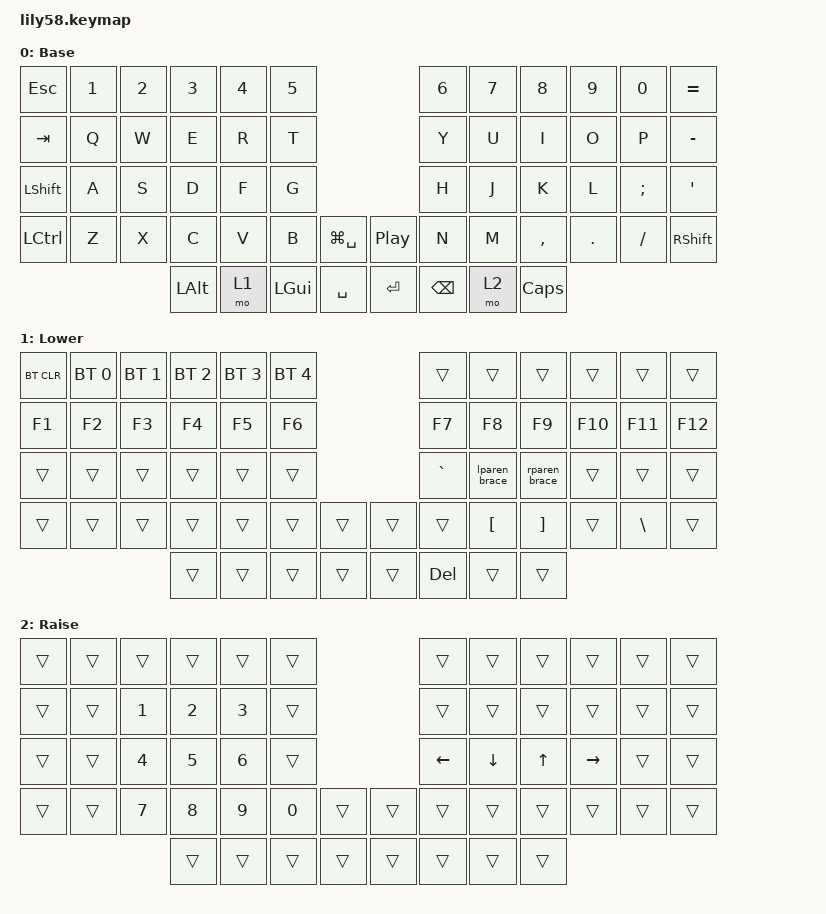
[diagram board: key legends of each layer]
/*
 * Copyright (c) 2020 The ZMK Contributors
 *
 * SPDX-License-Identifier: MIT
 */

#include <behaviors.dtsi>
#include <dt-bindings/zmk/bt.h>
#include <dt-bindings/zmk/keys.h>

/ {
    combos {
        compatible = "zmk,combos";

        LBrace {
            bindings = <&kp LEFT_BRACE>;
            key-positions = <24 51 31>;
        };

        RBrace {
            bindings = <&kp RBRC>;
            key-positions = <24 51 32>;
        };
    };

    behaviors {
        lparen_brace: lparen_brace {
            compatible = "zmk,behavior-mod-morph";
            label = "LPAREN_BRACE";
            bindings = <&kp LEFT_PARENTHESIS>, <&kp LBRC>;

            #binding-cells = <0>;
            mods = <(MOD_LSFT|MOD_RSFT)>;
        };

        rparen_brace: rparen_brace {
            compatible = "zmk,behavior-mod-morph";
            label = "RPAREN_BRACE";
            bindings = <&kp RPAR>, <&kp RIGHT_BRACE>;

            #binding-cells = <0>;
            mods = <(MOD_LSFT|MOD_RSFT)>;
        };
    };

    keymap {
        compatible = "zmk,keymap";

        default_layer {
            // ------------------------------------------------------------------------------------------------------------
            // |  ESC  |  1  |  2  |  3   |  4   |  5   |                   |  6   |  7    |  8    |  9   |   0   |   `   |
            // |  TAB  |  Q  |  W  |  E   |  R   |  T   |                   |  Y   |  U    |  I    |  O   |   P   |   -   |
            // |  CTRL |  A  |  S  |  D   |  F   |  G   |                   |  H   |  J    |  K    |  L   |   ;   |   '   |
            // | SHIFT |  Z  |  X  |  C   |  V   |  B   |   "["  |  |  "]"  |  N   |  M    |  ,    |  .   |   /   | SHIFT |
            //                     | ALT  | GUI  | LOWER|  SPACE |  | ENTER | RAISE| BSPC  | GUI   |

            display-name = "Base";
            bindings = <
&kp ESC     &kp N1  &kp N2  &kp N3    &kp N4  &kp N5                                       &kp N6    &kp N7  &kp N8        &kp N9   &kp N0    &kp EQUAL
&kp TAB     &kp Q   &kp W   &kp E     &kp R   &kp T                                        &kp Y     &kp U   &kp I         &kp O    &kp P     &kp MINUS
&kp LSHIFT  &kp A   &kp S   &kp D     &kp F   &kp G                                        &kp H     &kp J   &kp K         &kp L    &kp SEMI  &kp SQT
&kp LCTRL   &kp Z   &kp X   &kp C     &kp V   &kp B     &kp LG(SPACE)    &kp C_PLAY_PAUSE  &kp N     &kp M   &kp COMMA     &kp DOT  &kp FSLH  &kp RIGHT_SHIFT
                            &kp LALT  &mo 1   &kp LGUI  &kp SPACE        &kp RET           &kp BSPC  &mo 2   &kp CAPSLOCK
            >;
        };

        lower_layer {
            // ------------------------------------------------------------------------------------------------------------
            // | BTCLR | BT1 | BT2 |  BT3 |  BT4 |  BT5 |                   |      |       |       |      |       |       |
            // |  F1   |  F2 |  F3 |  F4  |  F5  |  F6  |                   |  F7  |  F8   |  F9   |  F10 |  F11  |  F12  |
            // |   `   |  !  |  @  |  #   |  $   |  %   |                   |  ^   |  &    |  *    |  (   |   )   |   ~   |
            // |       |     |     |      |      |      |        |  |       |      |  _    |  +    |  {   |   }   |  "|"  |
            //                     |      |      |      |        |  |       |      |       |       |

            display-name = "Lower";
            bindings = <
&bt BT_CLR  &bt BT_SEL 0  &bt BT_SEL 1  &bt BT_SEL 2  &bt BT_SEL 3  &bt BT_SEL 4                    &trans      &trans            &trans             &trans   &trans         &trans
&kp F1      &kp F2        &kp F3        &kp F4        &kp F5        &kp F6                          &kp F7      &kp F8            &kp F9             &kp F10  &kp F11        &kp F12
&trans      &trans        &trans        &trans        &trans        &trans                          &kp GRAVE   &lparen_brace     &rparen_brace      &trans   &trans         &trans
&trans      &trans        &trans        &trans        &trans        &trans        &trans    &trans  &trans      &kp LEFT_BRACKET  &kp RIGHT_BRACKET  &trans   &kp BACKSLASH  &trans
                                        &trans        &trans        &trans        &trans    &trans  &kp DELETE  &trans            &trans
            >;

            label = "lower";
        };

        raise_layer {
            // ------------------------------------------------------------------------------------------------------------
            // |       |     |     |      |      |      |                   |      |       |       |      |       |       |
            // |   `   |  1  |  2  |  3   |  4   |  5   |                   |  6   |   7   |   8   |  9   |   0   |       |
            // |   F1  |  F2 |  F3 |  F4  |  F5  |  F6  |                   |      |   <-  |   v   |  ^   |  ->   |       |
            // |   F7  |  F8 |  F9 |  F10 |  F11 |  F12 |        |  |       |  +   |   -   |   =   |  [   |   ]   |   \   |
            //                     |      |      |      |        |  |       |      |       |       |

            display-name = "Raise";
            bindings = <
&trans  &trans  &trans        &trans        &trans        &trans                    &trans          &trans          &trans        &trans     &trans  &trans
&trans  &trans  &kp NUMBER_1  &kp NUMBER_2  &kp NUMBER_3  &trans                    &trans          &trans          &trans        &trans     &trans  &trans
&trans  &trans  &kp NUMBER_4  &kp N5        &kp NUMBER_6  &trans                    &kp LEFT_ARROW  &kp DOWN_ARROW  &kp UP_ARROW  &kp RIGHT  &trans  &trans
&trans  &trans  &kp N7        &kp N8        &kp N9        &kp N0  &trans    &trans  &trans          &trans          &trans        &trans     &trans  &trans
                              &trans        &trans        &trans  &trans    &trans  &trans          &trans          &trans
            >;
        };
    };
};
